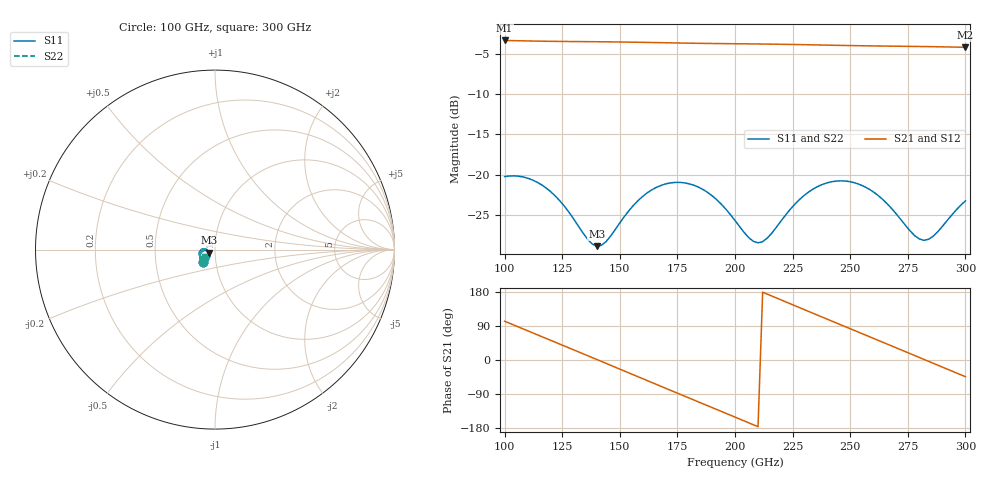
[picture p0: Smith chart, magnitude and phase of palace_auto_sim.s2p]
#  GHZ S DB R 50
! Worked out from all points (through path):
!   101 points, 100 GHz to 300 GHz, reference 50 ohm
!   highest |S21| = -3.29 dB at 100 GHz (marker M1); lowest = -4.1 dB at 300 GHz (marker M2)
!   group delay of S21, straight-line fit = 7.04 ps
!   lowest |S11| = -28.9 dB at 140 GHz (marker M3), VSWR 1.07, Z = 46.9 - j1.57 ohm
!   |S11| at or under -10 dB: start of sweep to end of sweep
!   |S22| runs from -29.1 to -20.2 dB; largest |S21 - S12| = 7.8e-14
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100  -20.25 -133.9  -3.29 102.4  -3.29 102.4  -20.27 -134.0
108  -20.30 -148.8  -3.33 82.2  -3.33 82.2  -20.32 -149.0
116  -21.27 -162.6  -3.38 62.0  -3.38 62.0  -21.30 -162.8
126  -23.96 -174.2  -3.41 36.8  -3.41 36.8  -24.04 -174.5
134  -27.27 -170.5  -3.43 16.6  -3.43 16.6  -27.42 -170.6
140  -28.92 -152.2  -3.45 1.4  -3.45 1.4  -29.10 -151.6
152  -25.22 -126.2  -3.48 -29.1  -3.48 -29.1  -25.25 -125.2
168  -21.34 -142.3  -3.56 -69.8  -3.56 -69.8  -21.32 -141.7
176  -20.97 -155.1  -3.60 -90.0  -3.60 -90.0  -20.96 -154.5
184  -21.55 -167.4  -3.64 -110.2  -3.64 -110.2  -21.53 -166.8
200  -25.72 -179.2  -3.69 -150.7  -3.69 -150.7  -25.71 -178.6
208  -28.33 -163.8  -3.72 -171.0  -3.72 -171.0  -28.30 -163.2
212  -28.36 -150.1  -3.73 178.9  -3.73 178.9  -28.32 -149.5
222  -25.03 -133.2  -3.77 153.5  -3.77 153.5  -24.99 -132.7
234  -21.79 -142.0  -3.84 123.0  -3.84 123.0  -21.75 -141.6
242  -20.89 -153.4  -3.88 102.8  -3.88 102.8  -20.86 -152.9
250  -20.89 -165.5  -3.92 82.5  -3.92 82.5  -20.86 -165.0
258  -21.78 -176.6  -3.96 62.4  -3.96 62.4  -21.75 -176.1
268  -24.24 175.2  -4.00 37.1  -4.00 37.1  -24.19 175.7
282  -28.19 -162.6  -4.05 1.6  -4.05 1.6  -28.12 -162.2
290  -26.46 -142.8  -4.08 -18.7  -4.08 -18.7  -26.40 -142.5
300  -23.28 -141.5  -4.14 -44.1  -4.14 -44.1  -23.24 -141.3
